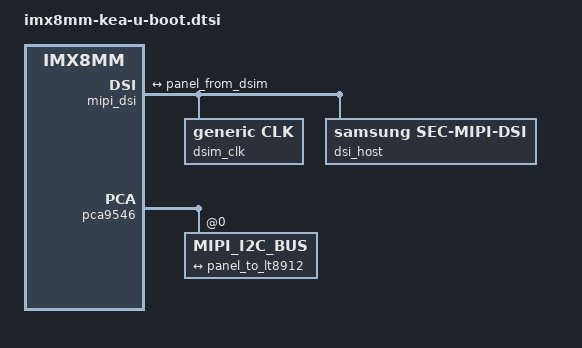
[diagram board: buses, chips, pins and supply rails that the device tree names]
// SPDX-License-Identifier: GPL-2.0+
/*
 * Copyright 2019 NXP
 */
#include "imx8mm-u-boot.dtsi"

/ {
	wdt-reboot {
		compatible = "wdt-reboot";
		wdt = <&wdog1>;
		u-boot,dm-spl;
	};
};

&{/soc@0} {
	u-boot,dm-pre-reloc;
	u-boot,dm-spl;
};

&aips1 {
	u-boot,dm-spl;
	u-boot,dm-pre-reloc;
};

&aips2 {
	u-boot,dm-spl;
};

&aips3 {
	u-boot,dm-spl;
};

&clk {
	u-boot,dm-spl;
	u-boot,dm-pre-reloc;
	/delete-property/ assigned-clocks;
	/delete-property/ assigned-clock-parents;
	/delete-property/ assigned-clock-rates;
};

&gpio1 {
	u-boot,dm-spl;
};

&gpio2 {
	u-boot,dm-spl;
};

&gpio3 {
	u-boot,dm-spl;
};

&gpio4 {
	u-boot,dm-spl;
};

&gpio5 {
	u-boot,dm-spl;
};

&i2c1 {
	u-boot,dm-spl;
};

&iomuxc {
	u-boot,dm-spl;
};

&lcdif {
	display = <&fb_mipi>;
};

&mipi_dsi {
	fb_mipi: panel@0 {
		bits-per-pixel = <24>;
		bus-width = <24>;
		clocks = <&dsim_clk 0>,
			 <&clk IMX8MMN(CLK_LCDIF_PIXEL)>;

		mipi_to_lvds: mipi-to-lvds {
			interrupts-gpios = GP_MIPI_IRQ(GPIO_ACTIVE_HIGH);
		};

		port@1 {
			panel_from_dsim: endpoint {
				remote-endpoint = <&dsim_to_panel>;
			};
		};

		port@2 {
			panel_to_lt8912: endpoint {
				remote-endpoint = <&lt8912_from_panel>;
			};
		};
	};

	dsim_clk: dsim-clk {
		#clock-cells = <1>;
		#size-cells = <0>;
		compatible = "generic,clk";
		clocks = <&clk IMX8MMN(CLK_DSI_PHY_REF)>;
		clock-names = "parent";
		clock-output-names = "dsim-clk";
		status = "okay";
	};

	dsi_host: dsi-host {
		compatible = "samsung,sec-mipi-dsi";
		clocks = <&dsim_clk 0>,
			 <&clk IMX8MMN(CLK_DSI_CORE)>,
			 <&clk IMX8MMN(CLK_DSI_PHY_REF)>,
			 <&clk IMX8MMN(CLK_LCDIF_PIXEL)>;
		clock-names = "dsim-clk", "cfg", "pll-ref", "pixel_clock";
		status = "okay";
	};

	port@1 {
		dsim_to_panel: endpoint {
			remote-endpoint = <&panel_from_dsim>;
		};
	};
};

&osc_24m {
	u-boot,dm-spl;
	u-boot,dm-pre-reloc;
};

&pca9546 {
	MIPI_I2C_BUS@0 {
		lt8912@48 {
			port@0 {
				lt8912_from_panel: endpoint {
					remote-endpoint = <&panel_to_lt8912>;
				};
			};
		};
	};
};

&pinctrl_i2c1 {
	u-boot,dm-spl;
};

&pinctrl_reg_usdhc2_vqmmc {
	u-boot,dm-spl;
};

&pinctrl_uart2 {
	u-boot,dm-spl;
};

&pinctrl_usbotg1 {
	u-boot,dm-spl;
};

&pinctrl_usbotg2 {
	u-boot,dm-spl;
};

&pinctrl_usdhc1 {
	u-boot,dm-spl;
};

&pinctrl_usdhc1_100mhz {
	u-boot,dm-spl;
};

&pinctrl_usdhc1_200mhz {
	u-boot,dm-spl;
};

&pinctrl_usdhc2 {
	u-boot,dm-spl;
};

&pinctrl_usdhc2_100mhz {
	u-boot,dm-spl;
};

&pinctrl_usdhc2_200mhz {
	u-boot,dm-spl;
};

&pinctrl_usdhc3 {
	u-boot,dm-spl;
};

&reg_usdhc2_vqmmc {
	u-boot,dm-spl;
};

&reg_vref_1v8 {
	u-boot,dm-spl;
};

&reg_vref_3v3 {
	u-boot,dm-spl;
};

&uart1 { /* BT */
	status = "disabled";
};

&uart2 {
	u-boot,dm-spl;
};

&uart4 {
	status = "disabled";
};

&usbmisc1 {
	u-boot,dm-spl;
};

&usbmisc2 {
	u-boot,dm-spl;
};

&usbotg1 {
	u-boot,dm-spl;
};

&usbotg2 {
	u-boot,dm-spl;
};

&usbphynop1 {
	u-boot,dm-spl;
};

&usbphynop2 {
	u-boot,dm-spl;
};

&usdhc1 {
	cap-mmc-highspeed;
	mmc-ddr-1_8v;
	mmc-hs200-1_8v;
	reset-gpios = GP_EMMC_RESET;
	u-boot,dm-spl;
};

&usdhc2 {
	cap-sd-highspeed;
	sd-uhs-ddr50;
	sd-uhs-sdr104;
	sd-uhs-sdr12;
	sd-uhs-sdr25;
	u-boot,dm-spl;
	vqmmc-supply = <&reg_usdhc2_vqmmc>;
};

&usdhc3 {
	status = "disabled";
};

&wdog1 {
	u-boot,dm-spl;
};
